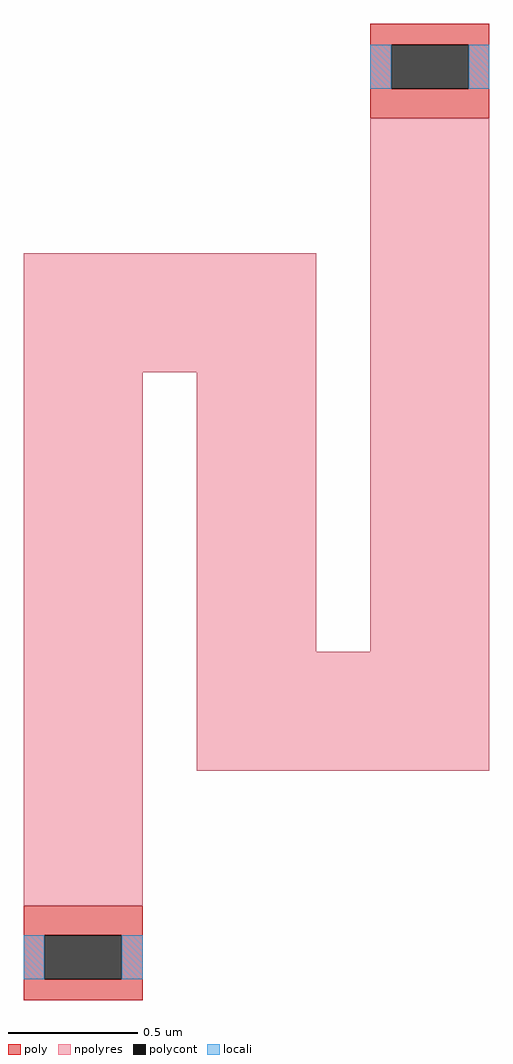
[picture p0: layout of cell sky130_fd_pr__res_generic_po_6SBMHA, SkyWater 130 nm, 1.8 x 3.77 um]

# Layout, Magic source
magic
tech sky130B
magscale 1 2
<< poly >>
rect 88 361 180 377
rect 88 327 104 361
rect 164 327 180 361
rect 88 304 180 327
rect -180 -327 -88 -304
rect -180 -361 -164 -327
rect -104 -361 -88 -327
rect -180 -377 -88 -361
<< polycont >>
rect 104 327 164 361
rect -164 -361 -104 -327
<< npolyres >>
rect -180 108 46 200
rect -180 -304 -88 108
rect -46 -108 46 108
rect 88 -108 180 304
rect -46 -200 180 -108
<< locali >>
rect 88 327 104 361
rect 164 327 180 361
rect -180 -361 -164 -327
rect -104 -361 -88 -327
<< properties >>
string gencell sky130_fd_pr__res_generic_po
string library sky130
string parameters w 0.46 l 2 m 1 nx 3 wmin 0.330 lmin 1.650 rho 48.2 val 808.921 dummy 0 dw 0.0 term 0.0 sterm 0.0 caplen 0.4 snake 1 guard 0 glc 0 grc 0 gtc 0 gbc 0 roverlap 0 endcov 100 full_metal 0 hv_guard 0 n_guard 0 vias 1 viagb 0 viagt 0 viagl 0 viagr 0
<< end >>
